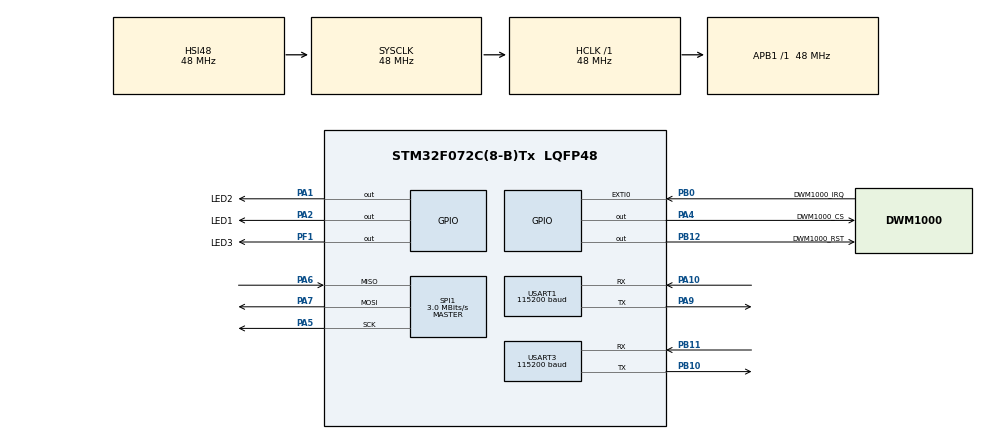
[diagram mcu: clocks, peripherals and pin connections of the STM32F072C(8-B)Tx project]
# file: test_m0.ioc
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Dma.Request0=USART1_TX
Dma.USART1_TX.0.Direction=DMA_MEMORY_TO_PERIPH
Dma.USART1_TX.0.Instance=DMA1_Channel2
Dma.USART1_TX.0.MemDataAlignment=DMA_MDATAALIGN_BYTE
Dma.USART1_TX.0.MemInc=DMA_MINC_ENABLE
Dma.USART1_TX.0.Mode=DMA_NORMAL
Dma.USART1_TX.0.PeriphDataAlignment=DMA_PDATAALIGN_BYTE
Dma.USART1_TX.0.PeriphInc=DMA_PINC_DISABLE
Dma.USART1_TX.0.Priority=DMA_PRIORITY_LOW
Mcu.Family=STM32F0
Mcu.Name=STM32F072C(8-B)Tx
Mcu.Package=LQFP48
NVIC.DMA1_Channel2_3_IRQn=true\:0\:0\:false\:false\:true\:false
NVIC.USART1_IRQn=true\:0\:0\:false\:false\:true\:true
PA1.GPIO_Label=LED2
PA1.GPIO_Speed=GPIO_SPEED_FREQ_HIGH
PA1.Signal=GPIO_Output
PA10.Mode=Asynchronous
PA10.Signal=USART1_RX
PA2.GPIO_Label=LED1
PA2.GPIO_Speed=GPIO_SPEED_FREQ_HIGH
PA2.Signal=GPIO_Output
PA4.GPIO_Label=DWM1000_CS
PA4.GPIO_Speed=GPIO_SPEED_FREQ_HIGH
PA4.PinState=GPIO_PIN_SET
PA4.Signal=GPIO_Output
PA5.Mode=Full_Duplex_Master
PA5.Signal=SPI1_SCK
PA6.Mode=Full_Duplex_Master
PA6.Signal=SPI1_MISO
PA7.Mode=Full_Duplex_Master
PA7.Signal=SPI1_MOSI
PA9.Mode=Asynchronous
PA9.Signal=USART1_TX
PB0.GPIO_Label=DWM1000_IRQ
PB0.GPIO_PuPd=GPIO_PULLDOWN
PB0.Signal=GPXTI0
PB10.Mode=Asynchronous
PB10.Signal=USART3_TX
PB11.Mode=Asynchronous
PB11.Signal=USART3_RX
PB12.GPIO_Label=DWM1000_RST
PB12.GPIO_ModeDefaultOutputPP=GPIO_MODE_OUTPUT_OD
PB12.Signal=GPIO_Output
PF1-OSC_OUT.GPIO_Label=LED3
PF1-OSC_OUT.GPIO_Speed=GPIO_SPEED_FREQ_HIGH
PF1-OSC_OUT.Signal=GPIO_Output
ProjectManager.HeapSize=0x200
ProjectManager.StackSize=0x400
ProjectManager.TargetToolchain=Makefile
RCC.AHBFreq_Value=48000000
RCC.APB1Freq_Value=48000000
RCC.APB1TimFreq_Value=48000000
RCC.HCLKFreq_Value=48000000
RCC.SYSCLKFreq_VALUE=48000000
RCC.SYSCLKSource=RCC_SYSCLKSOURCE_HSI48
SPI1.BaudRatePrescaler=SPI_BAUDRATEPRESCALER_16
SPI1.CalculateBaudRate=3.0 MBits/s
SPI1.DataSize=SPI_DATASIZE_8BIT
SPI1.Direction=SPI_DIRECTION_2LINES
SPI1.Mode=SPI_MODE_MASTER
SPI1.NSSPMode=SPI_NSS_PULSE_DISABLE
SPI1.VirtualType=VM_MASTER
USART1.BaudRate=115200
USART1.VirtualMode-Asynchronous=VM_ASYNC
USART1.WordLength=WORDLENGTH_8B
USART3.BaudRate=115200
USART3.VirtualMode-Asynchronous=VM_ASYNC
USART3.WordLength=WORDLENGTH_8B
board=test_m0

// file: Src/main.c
/**
  ******************************************************************************
  * File Name          : main.c
  * Description        : Main program body
  ******************************************************************************
  ** This notice applies to any and all portions of this file
  * that are not between comment pairs USER CODE BEGIN and
  * USER CODE END. Other portions of this file, whether
  * inserted by the user or by software development tools
  * are owned by their respective copyright owners.
  *
  * COPYRIGHT(c) 2017 STMicroelectronics
  *
  * Redistribution and use in source and binary forms, with or without modification,
  * are permitted provided that the following conditions are met:
  *   1. Redistributions of source code must retain the above copyright notice,
  *      this list of conditions and the following disclaimer.
  *   2. Redistributions in binary form must reproduce the above copyright notice,
  *      this list of conditions and the following disclaimer in the documentation
  *      and/or other materials provided with the distribution.
  *   3. Neither the name of STMicroelectronics nor the names of its contributors
  *      may be used to endorse or promote products derived from this software
  *      without specific prior written permission.
  *
  * THIS SOFTWARE IS PROVIDED BY THE COPYRIGHT HOLDERS AND CONTRIBUTORS "AS IS"
  * AND ANY EXPRESS OR IMPLIED WARRANTIES, INCLUDING, BUT NOT LIMITED TO, THE
  * IMPLIED WARRANTIES OF MERCHANTABILITY AND FITNESS FOR A PARTICULAR PURPOSE ARE
  * DISCLAIMED. IN NO EVENT SHALL THE COPYRIGHT HOLDER OR CONTRIBUTORS BE LIABLE
  * FOR ANY DIRECT, INDIRECT, INCIDENTAL, SPECIAL, EXEMPLARY, OR CONSEQUENTIAL
  * DAMAGES (INCLUDING, BUT NOT LIMITED TO, PROCUREMENT OF SUBSTITUTE GOODS OR
  * SERVICES; LOSS OF USE, DATA, OR PROFITS; OR BUSINESS INTERRUPTION) HOWEVER
  * CAUSED AND ON ANY THEORY OF LIABILITY, WHETHER IN CONTRACT, STRICT LIABILITY,
  * OR TORT (INCLUDING NEGLIGENCE OR OTHERWISE) ARISING IN ANY WAY OUT OF THE USE
  * OF THIS SOFTWARE, EVEN IF ADVISED OF THE POSSIBILITY OF SUCH DAMAGE.
  *
  ******************************************************************************
  */
#include "main.h"
#include "stm32f0xx_hal.h"
#include "usart.h"
#include "uwb.h"

SPI_HandleTypeDef hspi1;

UART_HandleTypeDef huart1;
UART_HandleTypeDef huart3;
DMA_HandleTypeDef hdma_usart1_tx;

/* USER CODE BEGIN PV */
/* Private variables ---------------------------------------------------------*/

/* USER CODE END PV */

void SystemClock_Config(void);
static void MX_GPIO_Init(void);
static void MX_DMA_Init(void);
void MX_SPI1_Init(void);
void MX_SPI1_Init_Fast(void);
static void MX_USART3_UART_Init(void);
static void MX_USART1_UART_Init(void);

/* USER CODE BEGIN PFP */
/* Private function prototypes -----------------------------------------------*/

/* USER CODE END PFP */

int main(void)
{

  /* MCU Configuration----------------------------------------------------------*/

  /* Reset of all peripherals, Initializes the Flash interface and the Systick. */
  HAL_Init();

  /* Configure the system clock */
  SystemClock_Config();

  /* Initialize all configured peripherals */
  MX_GPIO_Init();
  MX_DMA_Init();
  MX_SPI1_Init();
  MX_USART3_UART_Init();
  MX_USART1_UART_Init();

  /* USER CODE BEGIN 2 */

  /*
   * Initialize uwb system
   */
  HAL_NVIC_EnableIRQ(DWM1000_IRQn);
  SendBuffInit(&huart1, &hdma_usart1_tx);
  {
    char buff[100];
    sprintf(buff, "\r\n\r\n"
      "====================\r\n"
      "Initialize UWB\t");
    SendBuffStartDMA(buff, strlen(buff));
    if (uwbInit() != 0) {
      sprintf(buff, "ERROR\r\n");
      while (SendBuffStartDMA(buff, strlen(buff)) == SEND_RETRY);
      while (1);
    } else {
      sprintf(buff, "OKAY\r\n");
      while (SendBuffStartDMA(buff, strlen(buff)) == SEND_RETRY);
    }
  }
  /* USER CODE END 2 */

  /* Infinite loop */
  while (1)
  {

  /* USER CODE BEGIN 3 */
    UWBMainLoop();
  }
  /* USER CODE END 3 */

}

/** System Clock Configuration
*/
void SystemClock_Config(void)
{

  RCC_OscInitTypeDef RCC_OscInitStruct;
  RCC_ClkInitTypeDef RCC_ClkInitStruct;
  RCC_PeriphCLKInitTypeDef PeriphClkInit;

    /**Initializes the CPU, AHB and APB busses clocks
    */
  RCC_OscInitStruct.OscillatorType = RCC_OSCILLATORTYPE_HSI48;
  RCC_OscInitStruct.HSI48State = RCC_HSI48_ON;
  RCC_OscInitStruct.PLL.PLLState = RCC_PLL_NONE;
  if (HAL_RCC_OscConfig(&RCC_OscInitStruct) != HAL_OK)
  {
    _Error_Handler(__FILE__, __LINE__);
  }

    /**Initializes the CPU, AHB and APB busses clocks
    */
  RCC_ClkInitStruct.ClockType = RCC_CLOCKTYPE_HCLK|RCC_CLOCKTYPE_SYSCLK
                              |RCC_CLOCKTYPE_PCLK1;
  RCC_ClkInitStruct.SYSCLKSource = RCC_SYSCLKSOURCE_HSI48;
  RCC_ClkInitStruct.AHBCLKDivider = RCC_SYSCLK_DIV1;
  RCC_ClkInitStruct.APB1CLKDivider = RCC_HCLK_DIV1;

  if (HAL_RCC_ClockConfig(&RCC_ClkInitStruct, FLASH_LATENCY_1) != HAL_OK)
  {
    _Error_Handler(__FILE__, __LINE__);
  }

  PeriphClkInit.PeriphClockSelection = RCC_PERIPHCLK_USART1;
  PeriphClkInit.Usart1ClockSelection = RCC_USART1CLKSOURCE_PCLK1;
  if (HAL_RCCEx_PeriphCLKConfig(&PeriphClkInit) != HAL_OK)
  {
    _Error_Handler(__FILE__, __LINE__);
  }

    /**Configure the Systick interrupt time
    */
  HAL_SYSTICK_Config(HAL_RCC_GetHCLKFreq()/1000);

    /**Configure the Systick
    */
  HAL_SYSTICK_CLKSourceConfig(SYSTICK_CLKSOURCE_HCLK);

  /* SysTick_IRQn interrupt configuration */
  HAL_NVIC_SetPriority(SysTick_IRQn, 0, 0);
}

/* SPI1 init function */
void MX_SPI1_Init(void)
{

  /* SPI1 parameter configuration*/
  hspi1.Instance = SPI1;
  hspi1.Init.Mode = SPI_MODE_MASTER;
  hspi1.Init.Direction = SPI_DIRECTION_2LINES;
  hspi1.Init.DataSize = SPI_DATASIZE_8BIT;
  hspi1.Init.CLKPolarity = SPI_POLARITY_LOW;
  hspi1.Init.CLKPhase = SPI_PHASE_1EDGE;
  hspi1.Init.NSS = SPI_NSS_SOFT;
  hspi1.Init.BaudRatePrescaler = SPI_BAUDRATEPRESCALER_16;
  hspi1.Init.FirstBit = SPI_FIRSTBIT_MSB;
  hspi1.Init.TIMode = SPI_TIMODE_DISABLE;
  hspi1.Init.CRCCalculation = SPI_CRCCALCULATION_DISABLE;
  hspi1.Init.CRCPolynomial = 7;
  hspi1.Init.CRCLength = SPI_CRC_LENGTH_DATASIZE;
  hspi1.Init.NSSPMode = SPI_NSS_PULSE_DISABLE;
  if (HAL_SPI_Init(&hspi1) != HAL_OK)
  {
    _Error_Handler(__FILE__, __LINE__);
  }

}
void MX_SPI1_Init_Fast(void)
{

  /* SPI1 parameter configuration*/
  hspi1.Instance = SPI1;
  hspi1.Init.Mode = SPI_MODE_MASTER;
  hspi1.Init.Direction = SPI_DIRECTION_2LINES;
  hspi1.Init.DataSize = SPI_DATASIZE_8BIT;
  hspi1.Init.CLKPolarity = SPI_POLARITY_LOW;
  hspi1.Init.CLKPhase = SPI_PHASE_1EDGE;
  hspi1.Init.NSS = SPI_NSS_SOFT;
  hspi1.Init.BaudRatePrescaler = SPI_BAUDRATEPRESCALER_2;
  hspi1.Init.FirstBit = SPI_FIRSTBIT_MSB;
  hspi1.Init.TIMode = SPI_TIMODE_DISABLE;
  hspi1.Init.CRCCalculation = SPI_CRCCALCULATION_DISABLE;
  hspi1.Init.CRCPolynomial = 7;
  hspi1.Init.CRCLength = SPI_CRC_LENGTH_DATASIZE;
  hspi1.Init.NSSPMode = SPI_NSS_PULSE_DISABLE;
  if (HAL_SPI_Init(&hspi1) != HAL_OK)
  {
    _Error_Handler(__FILE__, __LINE__);
  }

}

/* USART1 init function */
static void MX_USART1_UART_Init(void)
{

  huart1.Instance = USART1;
  huart1.Init.BaudRate = 115200;
  huart1.Init.WordLength = UART_WORDLENGTH_8B;
  huart1.Init.StopBits = UART_STOPBITS_1;
  huart1.Init.Parity = UART_PARITY_NONE;
  huart1.Init.Mode = UART_MODE_TX_RX;
  huart1.Init.HwFlowCtl = UART_HWCONTROL_NONE;
  huart1.Init.OverSampling = UART_OVERSAMPLING_16;
  huart1.Init.OneBitSampling = UART_ONE_BIT_SAMPLE_DISABLE;
  huart1.AdvancedInit.AdvFeatureInit = UART_ADVFEATURE_NO_INIT;
  if (HAL_UART_Init(&huart1) != HAL_OK)
  {
    _Error_Handler(__FILE__, __LINE__);
  }

}

/* USART3 init function */
static void MX_USART3_UART_Init(void)
{

  huart3.Instance = USART3;
  huart3.Init.BaudRate = 115200;
  huart3.Init.WordLength = UART_WORDLENGTH_8B;
  huart3.Init.StopBits = UART_STOPBITS_1;
  huart3.Init.Parity = UART_PARITY_NONE;
  huart3.Init.Mode = UART_MODE_TX_RX;
  huart3.Init.HwFlowCtl = UART_HWCONTROL_NONE;
  huart3.Init.OverSampling = UART_OVERSAMPLING_16;
  huart3.Init.OneBitSampling = UART_ONE_BIT_SAMPLE_DISABLE;
  huart3.AdvancedInit.AdvFeatureInit = UART_ADVFEATURE_NO_INIT;
  if (HAL_UART_Init(&huart3) != HAL_OK)
  {
    _Error_Handler(__FILE__, __LINE__);
  }

}

static void MX_DMA_Init(void)
{
  /* DMA controller clock enable */
  __HAL_RCC_DMA1_CLK_ENABLE();

  /* DMA interrupt init */
  /* DMA1_Channel2_3_IRQn interrupt configuration */
  HAL_NVIC_SetPriority(DMA1_Channel2_3_IRQn, 0, 0);
  HAL_NVIC_EnableIRQ(DMA1_Channel2_3_IRQn);

}

/** Configure pins as
        * Analog
        * Input
        * Output
        * EVENT_OUT
        * EXTI
*/
static void MX_GPIO_Init(void)
{

  GPIO_InitTypeDef GPIO_InitStruct;

  /* GPIO Ports Clock Enable */
  __HAL_RCC_GPIOF_CLK_ENABLE();
  __HAL_RCC_GPIOA_CLK_ENABLE();
  __HAL_RCC_GPIOB_CLK_ENABLE();

  /*Configure GPIO pin Output Level */
  HAL_GPIO_WritePin(LED3_GPIO_Port, LED3_Pin, GPIO_PIN_RESET);

  /*Configure GPIO pin Output Level */
  HAL_GPIO_WritePin(GPIOA, LED2_Pin|LED1_Pin, GPIO_PIN_RESET);

  /*Configure GPIO pin Output Level */
  HAL_GPIO_WritePin(DWM1000_CS_GPIO_Port, DWM1000_CS_Pin, GPIO_PIN_SET);

  /*Configure GPIO pin Output Level */
  HAL_GPIO_WritePin(DWM1000_RST_GPIO_Port, DWM1000_RST_Pin, GPIO_PIN_RESET);

  /*Configure GPIO pin : LED3_Pin */
  GPIO_InitStruct.Pin = LED3_Pin;
  GPIO_InitStruct.Mode = GPIO_MODE_OUTPUT_PP;
  GPIO_InitStruct.Pull = GPIO_NOPULL;
  GPIO_InitStruct.Speed = GPIO_SPEED_FREQ_HIGH;
  HAL_GPIO_Init(LED3_GPIO_Port, &GPIO_InitStruct);

  /*Configure GPIO pins : LED2_Pin LED1_Pin DWM1000_CS_Pin */
  GPIO_InitStruct.Pin = LED2_Pin|LED1_Pin|DWM1000_CS_Pin;
  GPIO_InitStruct.Mode = GPIO_MODE_OUTPUT_PP;
  GPIO_InitStruct.Pull = GPIO_NOPULL;
  GPIO_InitStruct.Speed = GPIO_SPEED_FREQ_HIGH;
  HAL_GPIO_Init(GPIOA, &GPIO_InitStruct);

  /*Configure GPIO pin : DWM1000_IRQ_Pin */
  GPIO_InitStruct.Pin = DWM1000_IRQ_Pin;
  GPIO_InitStruct.Mode = GPIO_MODE_IT_RISING;
  GPIO_InitStruct.Pull = GPIO_PULLDOWN;
  HAL_GPIO_Init(DWM1000_IRQ_GPIO_Port, &GPIO_InitStruct);

  /*Configure GPIO pin : DWM1000_RST_Pin */
  GPIO_InitStruct.Pin = DWM1000_RST_Pin;
  GPIO_InitStruct.Mode = GPIO_MODE_OUTPUT_OD;
  GPIO_InitStruct.Pull = GPIO_NOPULL;
  GPIO_InitStruct.Speed = GPIO_SPEED_FREQ_LOW;
  HAL_GPIO_Init(DWM1000_RST_GPIO_Port, &GPIO_InitStruct);

}

void _Error_Handler(char * file, int line)
{
  /* USER CODE BEGIN Error_Handler_Debug */
  /* User can add his own implementation to report the HAL error return state */
  char buff[100];
  sprintf(buff, "Error at %s, line %d\n", file, line);
  SendBuffStartDMA(buff, strlen(buff));
  while(1)
  {
  }
  /* USER CODE END Error_Handler_Debug */
}

/************************ (C) COPYRIGHT STMicroelectronics *****END OF FILE****/
